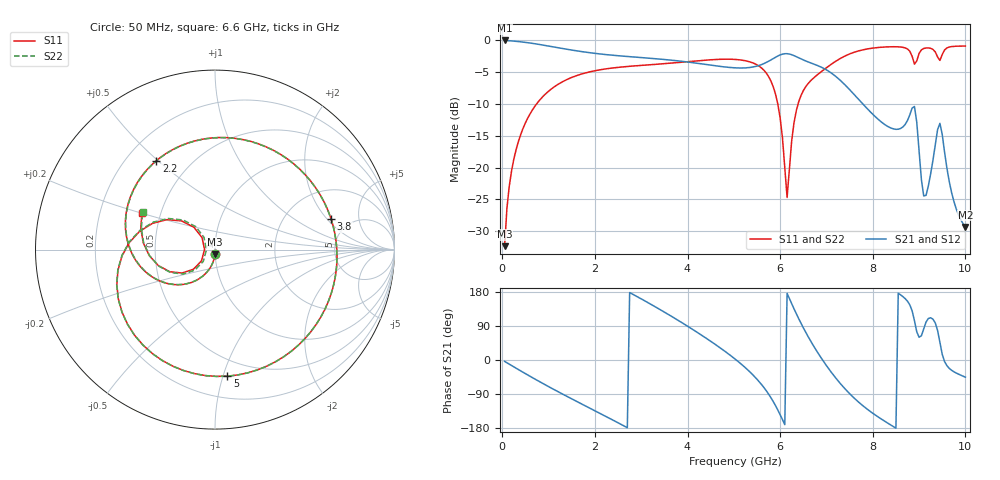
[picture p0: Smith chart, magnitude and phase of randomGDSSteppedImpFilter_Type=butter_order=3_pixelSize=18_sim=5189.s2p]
! freq	dB(S11)	phase(S11)	dB(S12)	phase(S12)
!  dB(S21)	phase(S21)	dB(S22)	phase(S22)
!S-par simulation data
#  GHz  S  DB  R 50
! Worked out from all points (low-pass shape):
!   200 points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, 50 MHz to 10 GHz, reference 50 ohm
!   highest |S21| = -0.02 dB at 50 MHz (marker M1); lowest = -29.3 dB at 10 GHz (marker M2)
!   |S21| within 3 dB of the highest: start of sweep to 3.511 GHz; 5.815 GHz to 6.479 GHz (664.2 MHz wide, 10.8 % of centre)
!   lowest |S11| = -32.4 dB at 50 MHz (marker M3), VSWR 1.05, Z = 49.9 - j2.41 ohm
!   |S11| at or under -10 dB: start of sweep to 741.8 MHz; 5.949 GHz to 6.388 GHz (439.4 MHz wide, 7.12 % of centre)
!   |S22| runs from -32.4 to -0.9 dB; largest |S21 - S12| = 0
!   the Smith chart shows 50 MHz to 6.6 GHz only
!   S11 on the Smith chart (normalised r, x): 50 MHz: 1.00, -0.05; 2.2 GHz: 0.32, +0.49; 3.8 GHz: 3.60, +2.22; 5 GHz: 0.37, -1.03; 6.6 GHz: 0.39, +0.20
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0.05  -32.37 -89.9  -0.02 -3.7  -0.02 -3.7  -32.37 -89.9
0.2  -20.54 -102.9  -0.10 -14.6  -0.10 -14.6  -20.54 -103.0
0.5  -12.97 -125.5  -0.32 -36.1  -0.32 -36.1  -12.98 -125.7
1.75  -5.22 151.6  -1.81 -118.3  -1.81 -118.3  -5.22 151.0
2.2  -4.53 123.4  -2.22 -146.6  -2.22 -146.6  -4.53 122.7
3.4  -3.73 43.8  -2.95 133.6  -2.95 133.6  -3.73 42.8
3.8  -3.49 14.7  -3.24 104.4  -3.24 104.4  -3.49 13.8
5  -2.99 -84.4  -4.32 5.1  -4.32 5.1  -2.99 -84.8
5.05  -3.02 -89.3  -4.34 0.3  -4.34 0.3  -3.02 -89.6
5.8  -6.39 175.3  -3.09 -99.4  -3.09 -99.4  -6.41 174.6
6.1  -20.12 137.1  -2.11 -170.6  -2.11 -170.6  -20.70 131.9
6.15  -24.71 179.6  -2.10 175.8  -2.10 175.8  -26.45 -179.8
6.35  -11.03 -154.0  -2.58 121.8  -2.58 121.8  -11.10 -152.7
6.6  -6.84 153.4  -3.39 62.6  -3.39 62.6  -6.88 152.8
6.7  -6.07 133.0  -3.66 41.5  -3.66 41.5  -6.11 131.8
7.05  -4.04 67.7  -4.88 -23.4  -4.88 -23.4  -4.06 65.3
7.5  -2.14 1.6  -7.75 -88.8  -7.75 -88.8  -2.14 -0.7
8.35  -1.02 -76.5  -13.65 -168.5  -13.65 -168.5  -1.01 -77.8
8.9  -3.75 -110.3  -10.40 103.7  -10.40 103.7  -3.54 -110.9
9.1  -1.29 -111.0  -24.46 81.9  -24.46 81.9  -1.26 -112.3
9.45  -3.16 -125.5  -13.06 45.6  -13.06 45.6  -3.08 -126.6
10  -0.91 -149.9  -29.34 -45.3  -29.34 -45.3  -0.90 -150.6
